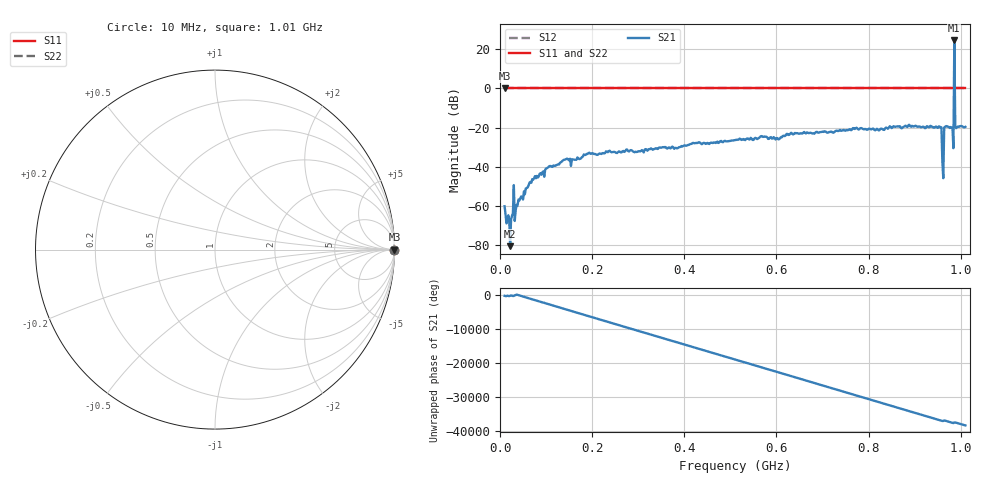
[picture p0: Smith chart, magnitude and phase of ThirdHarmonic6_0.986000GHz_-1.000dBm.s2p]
! 8/16/2025 7:43:56 AM
! C:\ANRITSUVNA\TEMP\TEMP.S2P
! CHANNEL.1
! TR.MEASUREMENT
! RAW.DATA
! RF.CORRECTION.OFF
! AVERAGING.OFF
! IF.BANDWIDTH: 5KHZ
! SWEEPTYPE:  FREQ.SWEEP(Linear)
! Reference Plane Port Info
! PORT:  PORT1  PORT2
! DISTANCE:  0  m  0  m
! TIME:  0  s  0  s
! PHASE.OFFSET:  0  deg.  0  deg.
! LOSS:  0  dB  0  dB
! REF.LOSS:  0  dB  0  dB
! REF.FREQ:  0  Hz  0  Hz
! Power Info
! POWER:  -20  dBm  -20  dBm
! EFF.POWER:  -20  dBm  -20  dBm
! SOURCE.ATTEN:  0  dB  0  dB
! TEST.ATTEN:  0  dB  0  dB
# GHZ S RI R 50.0
! FREQ.GHZ  S11RE  S11IM  S21RE  S21IM  S12RE  S12IM  S22RE  S22IM
!; PortSelection: Port_12
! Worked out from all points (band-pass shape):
!   501 points, 10 MHz to 1.01 GHz, reference 50 ohm
!   highest |S21| = 24.28 dB at 986 MHz (marker M1); lowest = -80.3 dB at 22 MHz (marker M2)
!   |S21| within 3 dB of the highest: 985.8905 MHz to 986.1384 MHz (247.9 kHz wide, 0.0251 % of centre)
!   lowest |S11| = 0.0 dB at 10 MHz (marker M3)
!   |S11| at or under -10 dB: nowhere
!   |S22| runs from 0.0 to 0.0 dB; largest |S21 - S12| = 16
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0.01  1 0  -0.000916 -0.00039  1 0  1 0
0.018  1 0  -0.000542 0.000219  1 0  1 0
0.022  1 0  -7.33e-05 -6.21e-05  1 0  1 0
0.032  1 0  0.000387 -0.000164  1 0  1 0
0.074  1 0  0.000946 0.00504  1 0  1 0
0.14  1 0  0.00158 -0.0152  1 0  1 0
0.178  1 0  -0.0176 -0.00195  1 0  1 0
0.344  1 0  0.0282 -0.00964  1 0  1 0
0.51  1 0  -0.0402 0.0257  1 0  1 0
0.678  1 0  -0.0544 -0.0446  1 0  1 0
0.844  1 0  0.0997 0.0158  1 0  1 0
0.954  1 0  -0.0583 -0.0882  1 0  1 0
0.958  1 0  0.0139 0.0998  1 0  1 0
0.96  1 0  0.0133 0.00467  1 0  1 0
0.964  1 0  -0.0972 -0.0243  1 0  1 0
0.968  1 0  0.0897 0.0614  1 0  1 0
0.98  1 0  -0.00515 -0.0978  1 0  1 0
0.982  1 0  -0.0963 -0.0189  1 0  1 0
0.986  1 0  4.938 -15.6  1 0  1 0
0.99  1 0  -0.0679 -0.0684  1 0  1 0
0.992  1 0  -0.0857 0.0535  1 0  1 0
1.01  1 0  -0.0772 0.0697  1 0  1 0
